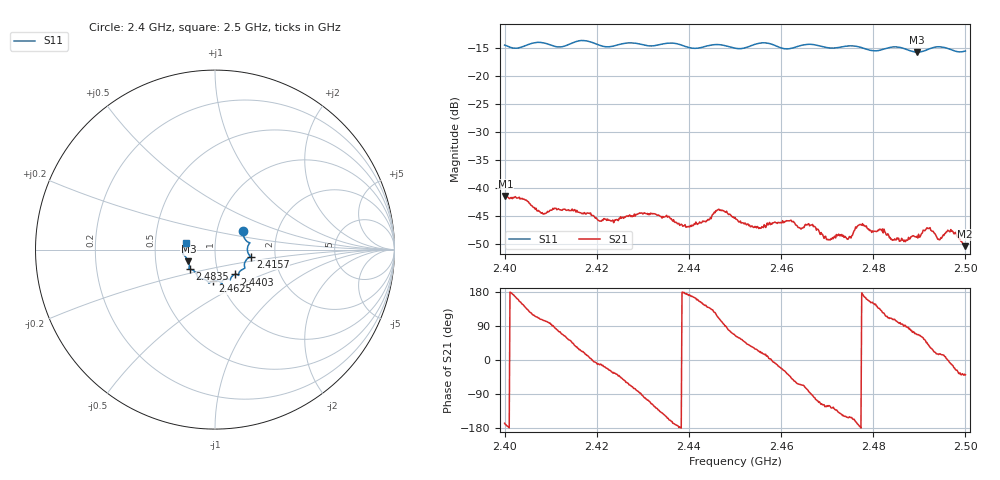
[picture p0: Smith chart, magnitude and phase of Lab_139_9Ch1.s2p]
# Hz S RI R
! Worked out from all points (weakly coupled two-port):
!   601 points, 2.4 GHz to 2.5 GHz, reference 50 ohm
!   highest |S21| = -41.47 dB at 2.4002 GHz (marker M1); lowest = -50.4 dB at 2.4998 GHz (marker M2)
!   lowest |S11| = -15.8 dB at 2.4895 GHz (marker M3), VSWR 1.39, Z = 36.8 - j4.99 ohm
!   |S11| at or under -10 dB: start of sweep to end of sweep
!   S12 and S22 are empty: the file has one direction only
!   S11 on the Smith chart (normalised r, x): 2.4 GHz: 1.33, +0.29; 2.4157 GHz: 1.49, -0.12; 2.4403 GHz: 1.19, -0.34; 2.4625 GHz: 0.92, -0.33; 2.4835 GHz: 0.74, -0.17; 2.5 GHz: 0.72, +0.06
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2.4e9  0.1557 0.1043  -0.00818 -0.00191  0 0  0 0
2.400167e9  0.1558 0.1022  -0.00832 -0.00147  0 0  0 0
2.408333e9  0.1931 0.036  -0.00155 0.00565  0 0  0 0
2.415667e9  0.1983 -0.0392  0.00518 0.00359  0 0  0 0
2.416667e9  0.2013 -0.0421  0.00545 0.00237  0 0  0 0
2.420833e9  0.1772 -0.0536  0.00497 -0.000938  0 0  0 0
2.433333e9  0.132 -0.1336  -0.00383 -0.00427  0 0  0 0
2.440333e9  0.1103 -0.1383  -0.00454 0.000822  0 0  0 0
2.446333e9  0.0849 -0.169  -0.00245 0.00591  0 0  0 0
2.45e9  0.0642 -0.1636  0.0023 0.00495  0 0  0 0
2.455167e9  0.037 -0.1906  0.00397 0.00175  0 0  0 0
2.4625e9  -0.0114 -0.1759  0.00315 -0.00388  0 0  0 0
2.466667e9  -0.0344 -0.1867  -0.00014 -0.00466  0 0  0 0
2.470333e9  -0.052 -0.169  -0.00174 -0.00296  0 0  0 0
2.474833e9  -0.0909 -0.1602  -0.00318 -0.00185  0 0  0 0
2.477167e9  -0.0972 -0.1508  -0.00471 -0.000317  0 0  0 0
2.483333e9  -0.1393 -0.1097  -0.00142 0.00351  0 0  0 0
2.4835e9  -0.1403 -0.1096  -0.00121 0.00339  0 0  0 0
2.4895e9  -0.1477 -0.0659  0.00145 0.00342  0 0  0 0
2.496667e9  -0.1719 -0.00882  0.00402 -0.000524  0 0  0 0
2.499833e9  -0.1611 0.0368  0.0024 -0.00183  0 0  0 0
2.5e9  -0.1612 0.0395  0.00238 -0.00194  0 0  0 0
